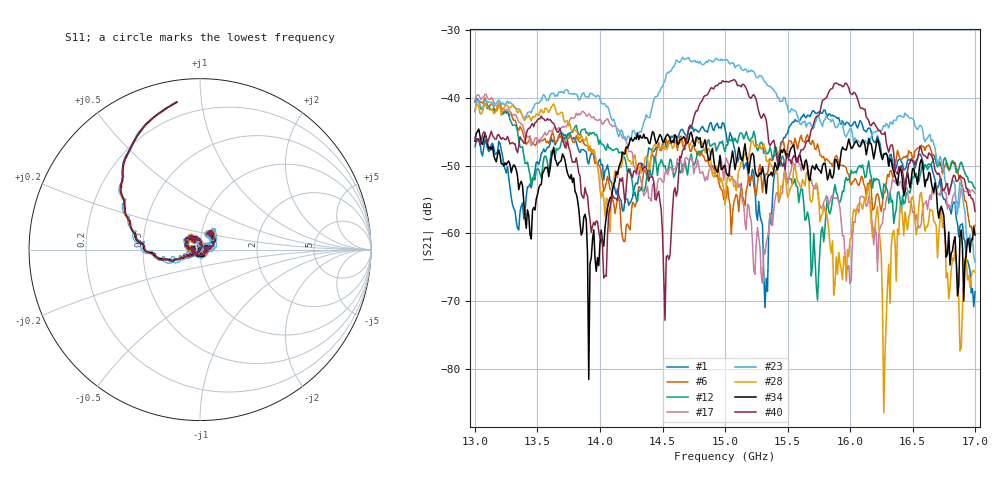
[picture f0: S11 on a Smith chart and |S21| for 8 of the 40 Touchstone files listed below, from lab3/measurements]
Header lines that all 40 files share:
!Keysight Technologies,P9374A,MY57211807,A.19.30.04
!Correction: S11(C  2-Port  )
!S21(C  2-Port  )
!S12(C  2-Port  )
!S22(C  2-Port  )
!S2P File: Measurements: S11, S21, S12, S22:
# Hz S  dB  R 50
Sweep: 13 GHz to 17 GHz
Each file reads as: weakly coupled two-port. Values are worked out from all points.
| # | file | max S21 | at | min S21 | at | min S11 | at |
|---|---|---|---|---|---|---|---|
| 1 | 1x8c30.s2p | -41.79 dB | 15.79 GHz | -71.0 dB | 15.32 GHz | -60.2 dB | 15.64 GHz |
| 2 | 1x8c32.s2p | -41.19 dB | 15.63 GHz | -76.1 dB | 15.18 GHz | -54.2 dB | 15.6 GHz |
| 3 | 1x8c34.s2p | -40.96 dB | 15.59 GHz | -62.2 dB | 16.98 GHz | -49.5 dB | 15.6 GHz |
| 4 | 1x8c36.s2p | -40.97 dB | 13.08 GHz | -57.2 dB | 16.97 GHz | -51.8 dB | 15.62 GHz |
| 5 | 1x8c38.s2p | -40.61 dB | 13.02 GHz | -63.1 dB | 16.98 GHz | -59.1 dB | 15.61 GHz |
| 6 | 1x8c40.s2p | -40.02 dB | 13.08 GHz | -61.2 dB | 14.19 GHz | -48.9 dB | 15.61 GHz |
| 7 | 1x8c42.s2p | -39.44 dB | 13.08 GHz | -83.6 dB | 14.22 GHz | -50.6 dB | 15.61 GHz |
| 8 | 1x8c44.s2p | -39.56 dB | 13.03 GHz | -74.0 dB | 14.82 GHz | -53.8 dB | 15.6 GHz |
| 9 | 1x8c46.s2p | -39.32 dB | 13.08 GHz | -77.3 dB | 14.77 GHz | -50.9 dB | 15.6 GHz |
| 10 | 1x8c48.s2p | -39.64 dB | 13.01 GHz | -66.2 dB | 15.8 GHz | -47.3 dB | 15.61 GHz |
| 11 | 1x8c50.s2p | -39.70 dB | 13.08 GHz | -67.1 dB | 15.75 GHz | -51.3 dB | 15.6 GHz |
| 12 | 1x8c52.s2p | -40.15 dB | 13.01 GHz | -69.9 dB | 15.74 GHz | -57.3 dB | 15.62 GHz |
| 13 | 1x8c54.s2p | -39.80 dB | 13.02 GHz | -70.6 dB | 15.74 GHz | -50.4 dB | 15.61 GHz |
| 14 | 1x8c56.s2p | -40.31 dB | 13.02 GHz | -66.4 dB | 15.26 GHz | -56.9 dB | 15.6 GHz |
| 15 | 1x8c58.s2p | -39.83 dB | 13.02 GHz | -69.3 dB | 15.75 GHz | -50.9 dB | 15.62 GHz |
| 16 | 1x8c60.s2p | -39.40 dB | 13.02 GHz | -67.6 dB | 16.11 GHz | -51.7 dB | 15.62 GHz |
| 17 | 1x8c62.s2p | -39.43 dB | 13.08 GHz | -67.5 dB | 16 GHz | -49.0 dB | 15.6 GHz |
| 18 | 1x8c64.s2p | -39.57 dB | 13.02 GHz | -72.8 dB | 15.17 GHz | -57.8 dB | 15.64 GHz |
| 19 | 1x8c66.s2p | -39.37 dB | 13.08 GHz | -68.5 dB | 15.11 GHz | -51.8 dB | 15.62 GHz |
| 20 | 1x8c68.s2p | -38.74 dB | 13.08 GHz | -58.4 dB | 15.05 GHz | -57.0 dB | 15.62 GHz |
| 21 | 1x8c70.s2p | -39.05 dB | 13.03 GHz | -58.0 dB | 15.04 GHz | -48.2 dB | 15.6 GHz |
| 22 | 1x8d0.s2p | -31.27 dB | 15.01 GHz | -63.0 dB | 16.95 GHz | -40.1 dB | 15.45 GHz |
| 23 | 1x8d2.s2p | -33.98 dB | 14.66 GHz | -64.3 dB | 17 GHz | -47.1 dB | 15.56 GHz |
| 24 | 1x8d4.s2p | -39.52 dB | 13.09 GHz | -65.6 dB | 15.7 GHz | -64.6 dB | 15.64 GHz |
| 25 | 1x8d6.s2p | -39.21 dB | 13.19 GHz | -78.7 dB | 16.33 GHz | -47.4 dB | 15.6 GHz |
| 26 | 1x8d8.s2p | -39.24 dB | 13.18 GHz | -81.7 dB | 15.67 GHz | -48.9 dB | 15.6 GHz |
| 27 | 1x8d10.s2p | -40.24 dB | 13.18 GHz | -83.0 dB | 16.93 GHz | -55.9 dB | 15.6 GHz |
| 28 | 1x8d12.s2p | -40.78 dB | 13.19 GHz | -86.6 dB | 16.27 GHz | -65.5 dB | 15.62 GHz |
| 29 | 1x8d14.s2p | -41.05 dB | 13.26 GHz | -81.1 dB | 16.71 GHz | -52.2 dB | 15.62 GHz |
| 30 | 1x8d16.s2p | -41.42 dB | 15.06 GHz | -78.9 dB | 16.58 GHz | -58.6 dB | 15.57 GHz |
| 31 | 1x8d18.s2p | -41.92 dB | 13.19 GHz | -70.3 dB | 14.59 GHz | -49.2 dB | 15.6 GHz |
| 32 | 1x8d20.s2p | -43.96 dB | 13.02 GHz | -76.6 dB | 15.89 GHz | -48.5 dB | 15.64 GHz |
| 33 | 1x8d22.s2p | -43.42 dB | 14.55 GHz | -85.0 dB | 16.89 GHz | -50.7 dB | 15.63 GHz |
| 34 | 1x8d24.s2p | -44.59 dB | 13.03 GHz | -81.6 dB | 13.91 GHz | -48.5 dB | 15.63 GHz |
| 35 | 1x8d26.s2p | -43.28 dB | 14.83 GHz | -60.4 dB | 13.82 GHz | -61.2 dB | 15.6 GHz |
| 36 | 1x8d28.s2p | -41.90 dB | 15.48 GHz | -80.3 dB | 14.25 GHz | -64.0 dB | 15.6 GHz |
| 37 | 1x8d30.s2p | -40.55 dB | 15.41 GHz | -74.1 dB | 14.17 GHz | -51.9 dB | 15.64 GHz |
| 38 | 1x8d32.s2p | -39.77 dB | 15.2 GHz | -70.7 dB | 16.93 GHz | -59.8 dB | 15.62 GHz |
| 39 | 1x8d34.s2p | -40.83 dB | 16.12 GHz | -67.9 dB | 16.87 GHz | -49.7 dB | 15.64 GHz |
| 40 | 1x8d36.s2p | -37.27 dB | 15.07 GHz | -72.9 dB | 14.52 GHz | -53.5 dB | 15.61 GHz |
